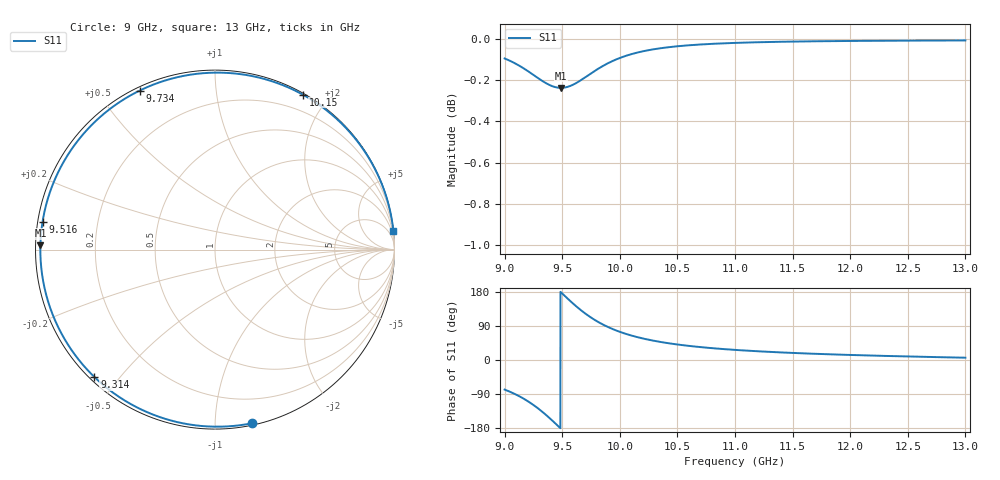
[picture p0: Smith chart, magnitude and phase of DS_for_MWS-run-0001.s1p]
! TOUCHSTONE file generated by CST DESIGN STUDIO
! Date and time: Tue Feb  4 12:40:06 2025
! Project name: C:\Work\MatlabApps\UnitCellOptimizationMatlab\CST\unitcell.cst
! Tree item: Tasks\Sweep1\SPara1\S-Parameters
! Header version: 2024
! Port assignment regex: !\s*Touchstone port\s*([0-9]+)\s*=\s*(CST MWS port|CST DES external port|CST DES block port)\s*(.+)\s* \(\"(.*)\"\)(\s*mode\s*([0-9]+))?.*
! Touchstone port assignment:
! Touchstone port 1 = CST DES external port 1 ("")
# GHz S MA R 50
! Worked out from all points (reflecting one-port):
!   4001 points, 9 GHz to 13 GHz, reference 50 ohm
!   lowest |S11| = -0.2 dB at 9.489 GHz (marker M1), VSWR 73.42, Z = 0.681 + j0.6 ohm
!   phase of S11 starts at -78 deg and turns -276 deg over the sweep
!   S11 on the Smith chart (normalised r, x): 9 GHz: 0.01, -1.23; 9.314 GHz: 0.01, -0.43; 9.516 GHz: 0.01, +0.08; 9.734 GHz: 0.01, +0.63; 10.15 GHz: 0.01, +1.72; 13 GHz: 0, +19
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9  0.9893 -78.0
9.08  0.9869 -88.4
9.179  0.9833 -104.5
9.249  0.9803 -118.4
9.314  0.9775 -133.4
9.36  0.9757 -145.1
9.409  0.9742 -158.5
9.45  0.9734 -170.1
9.489  0.9731 178.6
9.5  0.9731 175.4
9.516  0.9732 170.8
9.569  0.9742 155.8
9.629  0.976 139.8
9.681  0.9781 127.0
9.734  0.9804 115.3
9.788  0.9826 104.7
9.848  0.9849 94.5
9.923  0.9874 83.6
10  0.9895 74.3
10.151  0.9925 60.4
10.309  0.9945 50.0
10.5  0.996 40.9
10.722  0.9971 33.4
11  0.9979 26.7
11.5  0.9987 18.6
12  0.999 13.3
12.5  0.9992 9.3
13  0.9993 6.1
